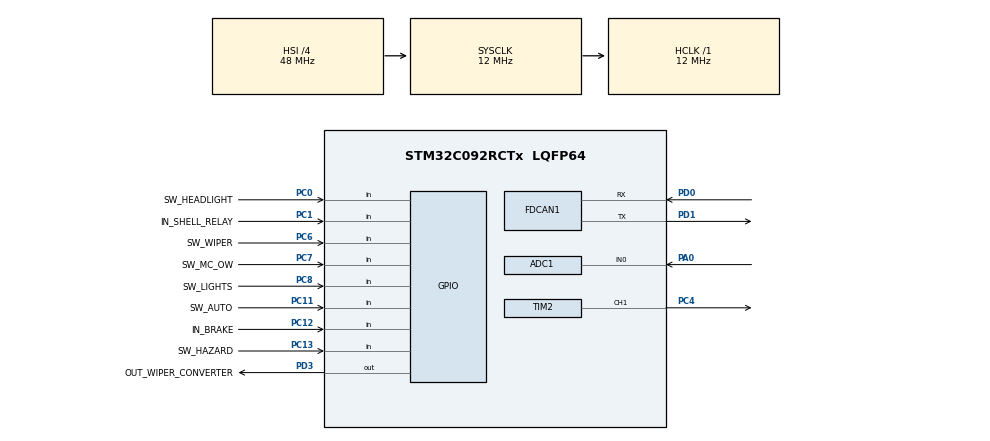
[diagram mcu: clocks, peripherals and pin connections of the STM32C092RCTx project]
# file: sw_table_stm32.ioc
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ADC1.ContinuousConvMode=DISABLE
ADC1.DMAContinuousRequests=DISABLE
ADC1.NbrOfConversionFlag=0
ADC1.Overrun=ADC_OVR_DATA_OVERWRITTEN
ADC1.SelectedChannel=ADC_CHANNEL_0
ADC1.TriggerFrequencyMode=ADC_TRIGGER_FREQ_HIGH
ADC1.master=1
FDCAN1.AutoRetransmission=DISABLE
FDCAN1.CalculateBaudRateNominal=500000
FDCAN1.CalculateTimeBitNominal=2000
FDCAN1.CalculateTimeQuantumNominal=83.33333333333333
FDCAN1.ClockDivider=FDCAN_CLOCK_DIV1
FDCAN1.DataSyncJumpWidth=11
FDCAN1.DataTimeSeg1=12
FDCAN1.DataTimeSeg2=11
FDCAN1.Mode=FDCAN_MODE_NORMAL
FDCAN1.NominalPrescaler=1
FDCAN1.NominalSyncJumpWidth=3
FDCAN1.NominalTimeSeg1=20
FDCAN1.NominalTimeSeg2=3
Mcu.Family=STM32C0
Mcu.Name=STM32C092RCTx
Mcu.Package=LQFP64
NVIC.ADC1_IRQn=true\:0\:0\:false\:false\:true\:true\:true\:true
NVIC.FDCAN1_IT0_IRQn=true\:0\:0\:false\:false\:true\:true\:true\:true
NVIC.TIM1_BRK_UP_TRG_COM_IRQn=true\:0\:0\:false\:false\:true\:true\:true\:true
PA0.Mode=IN0
PA0.Signal=ADC1_IN0
PC0.GPIO_Label=SW_HEADLIGHT
PC0.GPIO_PuPd=GPIO_PULLDOWN
PC0.Signal=GPIO_Input
PC1.GPIO_Label=IN_SHELL_RELAY
PC1.GPIO_PuPd=GPIO_PULLDOWN
PC1.Signal=GPIO_Input
PC11.GPIO_Label=SW_AUTO
PC11.GPIO_PuPd=GPIO_PULLDOWN
PC11.Signal=GPIO_Input
PC12.GPIO_Label=IN_BRAKE
PC12.GPIO_PuPd=GPIO_PULLDOWN
PC12.Signal=GPIO_Input
PC13.GPIO_Label=SW_HAZARD
PC13.GPIO_PuPd=GPIO_PULLDOWN
PC13.Signal=GPIO_Input
PC4.Signal=S_TIM2_CH1
PC6.GPIO_Label=SW_WIPER
PC6.GPIO_PuPd=GPIO_PULLDOWN
PC6.Signal=GPIO_Input
PC7.GPIO_Label=SW_MC_OW
PC7.GPIO_PuPd=GPIO_PULLDOWN
PC7.Signal=GPIO_Input
PC8.GPIO_Label=SW_LIGHTS
PC8.GPIO_PuPd=GPIO_PULLDOWN
PC8.Signal=GPIO_Input
PD0.Mode=FDCAN_Activate
PD0.Signal=FDCAN1_RX
PD1.Mode=FDCAN_Activate
PD1.Signal=FDCAN1_TX
PD3.GPIO_Label=OUT_WIPER_CONVERTER
PD3.Signal=GPIO_Output
ProjectManager.HeapSize=0x200
ProjectManager.StackSize=0x400
ProjectManager.TargetToolchain=STM32CubeIDE
RCC.ADCFreq_Value=12000000
RCC.AHBFreq_Value=12000000
RCC.CortexFreq_Value=12000000
RCC.EXTERNAL_CLOCK_VALUE=12288000
RCC.HCLKFreq_Value=12000000
RCC.HSE_VALUE=8000000
RCC.HSI_VALUE=48000000
RCC.LSE_VALUE=32768
RCC.SYSCLKFreq_VALUE=12000000
SH.S_TIM2_CH1.0=TIM2_CH1,PWM Generation1 CH1
TIM1.Period=20000-1
TIM1.Prescaler=1
TIM2.Channel-PWM\ Generation1\ CH1=TIM_CHANNEL_1
TIM2.ClockDivision=TIM_CLOCKDIVISION_DIV1
TIM2.CounterMode=TIM_COUNTERMODE_DOWN
TIM2.OCFastMode_PWM-PWM\ Generation1\ CH1=TIM_OCFAST_DISABLE
TIM2.OCMode_PWM-PWM\ Generation1\ CH1=TIM_OCMODE_PWM1
TIM2.OCPolarity_1=TIM_OCPOLARITY_HIGH
TIM2.Period=60000-1
TIM2.Prescaler=4-1
VP_TIM1_VS_ClockSourceINT.Mode=Internal
VP_TIM2_VS_ClockSourceINT.Mode=Internal
board=custom

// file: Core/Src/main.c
/* USER CODE BEGIN Header */
/**
  ******************************************************************************
  * @file           : main.c
  * @brief          : Main program body
  ******************************************************************************
  * @attention
  *
  * Copyright (c) 2025 STMicroelectronics.
  * All rights reserved.
  *
  * This software is licensed under terms that can be found in the LICENSE file
  * in the root directory of this software component.
  * If no LICENSE file comes with this software, it is provided AS-IS.
  *
  ******************************************************************************
  */
/* USER CODE END Header */
#include "main.h"

/* USER CODE BEGIN Includes */
#include "user.h"
/* USER CODE END Includes */

ADC_HandleTypeDef hadc1;

FDCAN_HandleTypeDef hfdcan1;

TIM_HandleTypeDef htim1;
TIM_HandleTypeDef htim2;

void SystemClock_Config(void);
static void MX_GPIO_Init(void);
static void MX_FDCAN1_Init(void);
static void MX_ADC1_Init(void);
static void MX_TIM1_Init(void);
static void MX_TIM2_Init(void);

/* USER CODE BEGIN 0 */

// interrupt only fires once for some reason, switched to polling :c
// ADC conversion complete callback
//void HAL_ADC_ConvCpltCallback(ADC_HandleTypeDef *hadc) {
//	user_flags.adc_conversion = SET;
//}

// Task timer interrupt callback
struct {
	uint8_t interval_CAN;
	uint16_t interval_wiper;
} timer_counters;
void HAL_TIM_PeriodElapsedCallback(TIM_HandleTypeDef *htim) {
	if (htim->Instance == TIM1) {
		if (timer_counters.interval_CAN >= CAN_INTERVAL) {
			user_flags.interval_CAN = SET;
			timer_counters.interval_CAN = 0;
		} else {
			timer_counters.interval_CAN++;
		}
		if (timer_counters.interval_wiper >= WIPER_INTERVAL) {
			user_flags.interval_wiper = SET;
			timer_counters.interval_wiper = 0;
		} else {
			timer_counters.interval_wiper++;
		}
	}
}

// CAN message received interrupt callback
//void HAL_FDCAN_RxFifo0Callback(FDCAN_HandleTypeDef *hfdcan, uint32_t RxFifo0ITs) {
//	if((RxFifo0ITs & FDCAN_IT_RX_FIFO0_NEW_MESSAGE) != RESET) {
//		user_flags.can_receive = SET;
//	}
//	if (HAL_FDCAN_ActivateNotification(&hfdcan1, FDCAN_IT_RX_FIFO0_NEW_MESSAGE, 0) != HAL_OK)
//		CAN_Error();
//}

/* USER CODE END 0 */

int main(void)
{

  /* MCU Configuration--------------------------------------------------------*/

  /* Reset of all peripherals, Initializes the Flash interface and the Systick. */
  HAL_Init();

  /* Configure the system clock */
  SystemClock_Config();

  /* Initialize all configured peripherals */
  MX_GPIO_Init();
  MX_FDCAN1_Init();
  MX_ADC1_Init();
  MX_TIM1_Init();
  MX_TIM2_Init();
  /* USER CODE BEGIN 2 */

  // initialize user variables
  User_Init(&hadc1, &hfdcan1, &htim2);

  timer_counters.interval_CAN = 0;
  timer_counters.interval_wiper = 0;

  // filter for processed CAN messages
  FDCAN_FilterTypeDef _filter_1;
  _filter_1.FilterIndex = 0;
  _filter_1.IdType = FDCAN_STANDARD_ID;
  _filter_1.FilterType = FDCAN_FILTER_DUAL;
  _filter_1.FilterConfig = FDCAN_FILTER_TO_RXFIFO0;
  _filter_1.FilterID1 = 0x185;
  _filter_1.FilterID2 = 0x190;
  if (HAL_FDCAN_ConfigFilter(&hfdcan1, &_filter_1) != HAL_OK)
	  CAN_Error();

  FDCAN_FilterTypeDef _filter_2;
  _filter_2.FilterIndex = 1;
  _filter_2.IdType = FDCAN_STANDARD_ID;
  _filter_2.FilterType = FDCAN_FILTER_DUAL;
  _filter_2.FilterConfig = FDCAN_FILTER_TO_RXFIFO0;
  _filter_2.FilterID1 = 0x123;
  _filter_2.FilterID2 = 0x10;
  if (HAL_FDCAN_ConfigFilter(&hfdcan1, &_filter_2) != HAL_OK)
	  CAN_Error();

  // start the nessesary modules
  HAL_ADCEx_Calibration_Start(&hadc1);
//  HAL_ADC_Start_IT(&hadc1);
  HAL_TIM_Base_Start_IT(&htim1);
  HAL_FDCAN_Start(&hfdcan1);

// activate fifo0 callback
//  if (HAL_FDCAN_ActivateNotification(&hfdcan1, FDCAN_IT_RX_FIFO0_NEW_MESSAGE, 0) != HAL_OK)
//	  CAN_Error();

  /* USER CODE END 2 */

  /* Infinite loop */
  /* USER CODE BEGIN WHILE */
  while (1)
  {
	  // Execute user tasks in the main loop
	  User_Loop();
    /* USER CODE END WHILE */

  }
}

void SystemClock_Config(void)
{
  RCC_OscInitTypeDef RCC_OscInitStruct = {0};
  RCC_ClkInitTypeDef RCC_ClkInitStruct = {0};

  __HAL_FLASH_SET_LATENCY(FLASH_LATENCY_0);

  /** Initializes the RCC Oscillators according to the specified parameters
  * in the RCC_OscInitTypeDef structure.
  */
  RCC_OscInitStruct.OscillatorType = RCC_OSCILLATORTYPE_HSI;
  RCC_OscInitStruct.HSIState = RCC_HSI_ON;
  RCC_OscInitStruct.HSIDiv = RCC_HSI_DIV4;
  RCC_OscInitStruct.HSICalibrationValue = RCC_HSICALIBRATION_DEFAULT;
  if (HAL_RCC_OscConfig(&RCC_OscInitStruct) != HAL_OK)
  {
    Error_Handler();
  }

  /** Initializes the CPU, AHB and APB buses clocks
  */
  RCC_ClkInitStruct.ClockType = RCC_CLOCKTYPE_HCLK|RCC_CLOCKTYPE_SYSCLK
                              |RCC_CLOCKTYPE_PCLK1;
  RCC_ClkInitStruct.SYSCLKSource = RCC_SYSCLKSOURCE_HSI;
  RCC_ClkInitStruct.SYSCLKDivider = RCC_SYSCLK_DIV1;
  RCC_ClkInitStruct.AHBCLKDivider = RCC_HCLK_DIV1;
  RCC_ClkInitStruct.APB1CLKDivider = RCC_APB1_DIV1;

  if (HAL_RCC_ClockConfig(&RCC_ClkInitStruct, FLASH_LATENCY_0) != HAL_OK)
  {
    Error_Handler();
  }
}

static void MX_ADC1_Init(void)
{

  ADC_ChannelConfTypeDef sConfig = {0};

  /** Configure the global features of the ADC (Clock, Resolution, Data Alignment and number of conversion)
  */
  hadc1.Instance = ADC1;
  hadc1.Init.ClockPrescaler = ADC_CLOCK_SYNC_PCLK_DIV1;
  hadc1.Init.Resolution = ADC_RESOLUTION_12B;
  hadc1.Init.DataAlign = ADC_DATAALIGN_RIGHT;
  hadc1.Init.ScanConvMode = ADC_SCAN_SEQ_FIXED;
  hadc1.Init.EOCSelection = ADC_EOC_SINGLE_CONV;
  hadc1.Init.LowPowerAutoWait = DISABLE;
  hadc1.Init.LowPowerAutoPowerOff = DISABLE;
  hadc1.Init.ContinuousConvMode = DISABLE;
  hadc1.Init.NbrOfConversion = 1;
  hadc1.Init.DiscontinuousConvMode = DISABLE;
  hadc1.Init.ExternalTrigConv = ADC_SOFTWARE_START;
  hadc1.Init.ExternalTrigConvEdge = ADC_EXTERNALTRIGCONVEDGE_NONE;
  hadc1.Init.DMAContinuousRequests = DISABLE;
  hadc1.Init.Overrun = ADC_OVR_DATA_OVERWRITTEN;
  hadc1.Init.SamplingTimeCommon1 = ADC_SAMPLETIME_1CYCLE_5;
  hadc1.Init.OversamplingMode = DISABLE;
  hadc1.Init.TriggerFrequencyMode = ADC_TRIGGER_FREQ_HIGH;
  if (HAL_ADC_Init(&hadc1) != HAL_OK)
  {
    Error_Handler();
  }

  /** Configure Regular Channel
  */
  sConfig.Channel = ADC_CHANNEL_0;
  sConfig.Rank = ADC_RANK_CHANNEL_NUMBER;
  if (HAL_ADC_ConfigChannel(&hadc1, &sConfig) != HAL_OK)
  {
    Error_Handler();
  }

}

static void MX_FDCAN1_Init(void)
{

  hfdcan1.Instance = FDCAN1;
  hfdcan1.Init.ClockDivider = FDCAN_CLOCK_DIV1;
  hfdcan1.Init.FrameFormat = FDCAN_FRAME_CLASSIC;
  hfdcan1.Init.Mode = FDCAN_MODE_NORMAL;
  hfdcan1.Init.AutoRetransmission = DISABLE;
  hfdcan1.Init.TransmitPause = DISABLE;
  hfdcan1.Init.ProtocolException = DISABLE;
  hfdcan1.Init.NominalPrescaler = 1;
  hfdcan1.Init.NominalSyncJumpWidth = 3;
  hfdcan1.Init.NominalTimeSeg1 = 20;
  hfdcan1.Init.NominalTimeSeg2 = 3;
  hfdcan1.Init.DataPrescaler = 1;
  hfdcan1.Init.DataSyncJumpWidth = 11;
  hfdcan1.Init.DataTimeSeg1 = 12;
  hfdcan1.Init.DataTimeSeg2 = 11;
  hfdcan1.Init.StdFiltersNbr = 0;
  hfdcan1.Init.ExtFiltersNbr = 0;
  hfdcan1.Init.TxFifoQueueMode = FDCAN_TX_FIFO_OPERATION;
  if (HAL_FDCAN_Init(&hfdcan1) != HAL_OK)
  {
    Error_Handler();
  }

}

static void MX_TIM1_Init(void)
{

  TIM_ClockConfigTypeDef sClockSourceConfig = {0};
  TIM_MasterConfigTypeDef sMasterConfig = {0};

  htim1.Instance = TIM1;
  htim1.Init.Prescaler = 1;
  htim1.Init.CounterMode = TIM_COUNTERMODE_UP;
  htim1.Init.Period = 20000-1;
  htim1.Init.ClockDivision = TIM_CLOCKDIVISION_DIV1;
  htim1.Init.RepetitionCounter = 0;
  htim1.Init.AutoReloadPreload = TIM_AUTORELOAD_PRELOAD_DISABLE;
  if (HAL_TIM_Base_Init(&htim1) != HAL_OK)
  {
    Error_Handler();
  }
  sClockSourceConfig.ClockSource = TIM_CLOCKSOURCE_INTERNAL;
  if (HAL_TIM_ConfigClockSource(&htim1, &sClockSourceConfig) != HAL_OK)
  {
    Error_Handler();
  }
  sMasterConfig.MasterOutputTrigger = TIM_TRGO_RESET;
  sMasterConfig.MasterOutputTrigger2 = TIM_TRGO2_RESET;
  sMasterConfig.MasterSlaveMode = TIM_MASTERSLAVEMODE_DISABLE;
  if (HAL_TIMEx_MasterConfigSynchronization(&htim1, &sMasterConfig) != HAL_OK)
  {
    Error_Handler();
  }

}

static void MX_TIM2_Init(void)
{

  TIM_ClockConfigTypeDef sClockSourceConfig = {0};
  TIM_MasterConfigTypeDef sMasterConfig = {0};
  TIM_OC_InitTypeDef sConfigOC = {0};

  htim2.Instance = TIM2;
  htim2.Init.Prescaler = 4-1;
  htim2.Init.CounterMode = TIM_COUNTERMODE_DOWN;
  htim2.Init.Period = 60000-1;
  htim2.Init.ClockDivision = TIM_CLOCKDIVISION_DIV1;
  htim2.Init.AutoReloadPreload = TIM_AUTORELOAD_PRELOAD_DISABLE;
  if (HAL_TIM_Base_Init(&htim2) != HAL_OK)
  {
    Error_Handler();
  }
  sClockSourceConfig.ClockSource = TIM_CLOCKSOURCE_INTERNAL;
  if (HAL_TIM_ConfigClockSource(&htim2, &sClockSourceConfig) != HAL_OK)
  {
    Error_Handler();
  }
  if (HAL_TIM_PWM_Init(&htim2) != HAL_OK)
  {
    Error_Handler();
  }
  sMasterConfig.MasterOutputTrigger = TIM_TRGO_RESET;
  sMasterConfig.MasterSlaveMode = TIM_MASTERSLAVEMODE_DISABLE;
  if (HAL_TIMEx_MasterConfigSynchronization(&htim2, &sMasterConfig) != HAL_OK)
  {
    Error_Handler();
  }
  sConfigOC.OCMode = TIM_OCMODE_PWM1;
  sConfigOC.Pulse = 0;
  sConfigOC.OCPolarity = TIM_OCPOLARITY_HIGH;
  sConfigOC.OCFastMode = TIM_OCFAST_DISABLE;
  if (HAL_TIM_PWM_ConfigChannel(&htim2, &sConfigOC, TIM_CHANNEL_1) != HAL_OK)
  {
    Error_Handler();
  }
  HAL_TIM_MspPostInit(&htim2);

}

static void MX_GPIO_Init(void)
{
  GPIO_InitTypeDef GPIO_InitStruct = {0};

  /* GPIO Ports Clock Enable */
  __HAL_RCC_GPIOC_CLK_ENABLE();
  __HAL_RCC_GPIOA_CLK_ENABLE();
  __HAL_RCC_GPIOD_CLK_ENABLE();

  /*Configure GPIO pin Output Level */
  HAL_GPIO_WritePin(OUT_WIPER_CONVERTER_GPIO_Port, OUT_WIPER_CONVERTER_Pin, GPIO_PIN_RESET);

  /*Configure GPIO pins : SW_AUTO_Pin IN_BRAKE_Pin SW_HAZARD_Pin SW_HEADLIGHT_Pin
                           IN_SHELL_RELAY_Pin SW_WIPER_Pin SW_MC_OW_Pin SW_LIGHTS_Pin */
  GPIO_InitStruct.Pin = SW_AUTO_Pin|IN_BRAKE_Pin|SW_HAZARD_Pin|SW_HEADLIGHT_Pin
                          |IN_SHELL_RELAY_Pin|SW_WIPER_Pin|SW_MC_OW_Pin|SW_LIGHTS_Pin;
  GPIO_InitStruct.Mode = GPIO_MODE_INPUT;
  GPIO_InitStruct.Pull = GPIO_PULLDOWN;
  HAL_GPIO_Init(GPIOC, &GPIO_InitStruct);

  /*Configure GPIO pin : OUT_WIPER_CONVERTER_Pin */
  GPIO_InitStruct.Pin = OUT_WIPER_CONVERTER_Pin;
  GPIO_InitStruct.Mode = GPIO_MODE_OUTPUT_PP;
  GPIO_InitStruct.Pull = GPIO_NOPULL;
  GPIO_InitStruct.Speed = GPIO_SPEED_FREQ_LOW;
  HAL_GPIO_Init(OUT_WIPER_CONVERTER_GPIO_Port, &GPIO_InitStruct);

}

void Error_Handler(void)
{
  __disable_irq();
  while (1)
  {
  }
}
